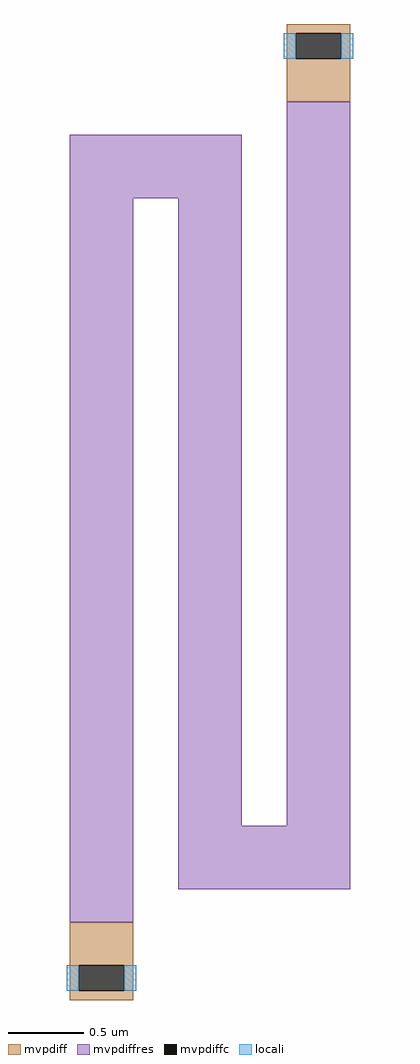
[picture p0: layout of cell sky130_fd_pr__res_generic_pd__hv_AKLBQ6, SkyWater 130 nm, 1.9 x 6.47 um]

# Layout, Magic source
magic
tech sky130A
magscale 1 2
<< mvpdiff >>
rect 102 635 186 647
rect 102 601 114 635
rect 174 601 186 635
rect 102 544 186 601
rect -186 -601 -102 -544
rect -186 -635 -174 -601
rect -114 -635 -102 -601
rect -186 -647 -102 -635
<< mvpdiffc >>
rect 114 601 174 635
rect -174 -635 -114 -601
<< mvpdiffres >>
rect -186 416 42 500
rect -186 -544 -102 416
rect -42 -416 42 416
rect 102 -416 186 544
rect -42 -500 186 -416
<< locali >>
rect 98 601 114 635
rect 174 601 190 635
rect -190 -635 -174 -601
rect -114 -635 -98 -601
<< properties >>
string gencell sky130_fd_pr__res_generic_pd__hv
string library sky130
string parameters w 0.42 l 5.0 m 1 nx 3 wmin 0.42 lmin 2.10 rho 197 val 8.372k dummy 0 dw 0.02 term 0.0 sterm 0.0 caplen 0.60 snake 1 guard 0 glc 1 grc 1 gtc 1 gbc 1 roverlap 0 endcov 100 full_metal 1 vias 1 viagb 0 viagt 0 viagl 0 viagr 0
<< end >>
